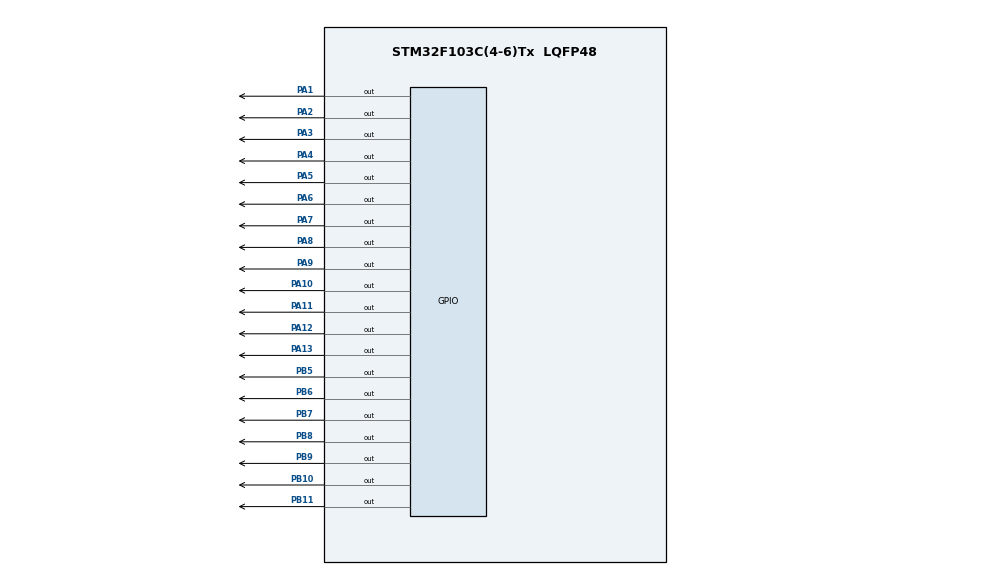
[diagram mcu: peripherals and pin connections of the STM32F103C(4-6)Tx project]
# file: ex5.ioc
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Mcu.Family=STM32F1
Mcu.Name=STM32F103C(4-6)Tx
Mcu.Package=LQFP48
NVIC.PriorityGroup=NVIC_PRIORITYGROUP_4
PA1.Signal=GPIO_Output
PA10.Signal=GPIO_Output
PA11.Signal=GPIO_Output
PA12.Signal=GPIO_Output
PA13.Signal=GPIO_Output
PA2.Signal=GPIO_Output
PA3.Signal=GPIO_Output
PA4.Signal=GPIO_Output
PA5.Signal=GPIO_Output
PA6.Signal=GPIO_Output
PA7.Signal=GPIO_Output
PA8.Signal=GPIO_Output
PA9.Signal=GPIO_Output
PB10.Signal=GPIO_Output
PB11.Signal=GPIO_Output
PB5.Signal=GPIO_Output
PB6.Signal=GPIO_Output
PB7.Signal=GPIO_Output
PB8.Signal=GPIO_Output
PB9.Signal=GPIO_Output
ProjectManager.HeapSize=0x200
ProjectManager.StackSize=0x400
ProjectManager.TargetToolchain=STM32CubeIDE
RCC.APB1Freq_Value=8000000
RCC.APB2Freq_Value=8000000
VP_SYS_VS_ND.Mode=No_Debug
board=custom

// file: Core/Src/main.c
/* USER CODE BEGIN Header */
/**
  ******************************************************************************
  * @file           : main.c
  * @brief          : Main program body
  ******************************************************************************
  * @attention
  *
  * <h2><center>&copy; Copyright (c) 2021 STMicroelectronics.
  * All rights reserved.</center></h2>
  *
  * This software component is licensed by ST under BSD 3-Clause license,
  * the "License"; You may not use this file except in compliance with the
  * License. You may obtain a copy of the License at:
  *                        opensource.org/licenses/BSD-3-Clause
  *
  ******************************************************************************
  */
/* USER CODE END Header */
#include "main.h"

void SystemClock_Config(void);
static void MX_GPIO_Init(void);

int main(void)
{

  /* MCU Configuration--------------------------------------------------------*/

  /* Reset of all peripherals, Initializes the Flash interface and the Systick. */
  HAL_Init();

  /* Configure the system clock */
  SystemClock_Config();

  /* Initialize all configured peripherals */
  MX_GPIO_Init();

  /* Infinite loop */
  /* USER CODE BEGIN WHILE */
  // Display led 7 segment top and bottom
    void display7SEG(int counter){
     	  switch(counter){
     	  case 0:
     		  HAL_GPIO_WritePin(GPIOA, GPIO_PIN_13, 1);
     		  HAL_GPIO_WritePin(GPIOA, GPIO_PIN_7|GPIO_PIN_8|GPIO_PIN_9|GPIO_PIN_10|GPIO_PIN_11|GPIO_PIN_12, 0);
     		  break;
     	  case 1:
     	  	HAL_GPIO_WritePin(GPIOA, GPIO_PIN_7|GPIO_PIN_10|GPIO_PIN_11|GPIO_PIN_12|GPIO_PIN_13, 1);
     	  	HAL_GPIO_WritePin(GPIOA, GPIO_PIN_8|GPIO_PIN_9, 0);
     	  	break;
     	  case 2:
     	  	HAL_GPIO_WritePin(GPIOA, GPIO_PIN_9|GPIO_PIN_12, 1);
     	  	HAL_GPIO_WritePin(GPIOA, GPIO_PIN_7|GPIO_PIN_8|GPIO_PIN_10|GPIO_PIN_11|GPIO_PIN_13, 0);
     	  	break;
     	  case 3:
     	  	HAL_GPIO_WritePin(GPIOA, GPIO_PIN_11|GPIO_PIN_12, 1);
     	  	HAL_GPIO_WritePin(GPIOA, GPIO_PIN_7|GPIO_PIN_8|GPIO_PIN_9|GPIO_PIN_10|GPIO_PIN_13, 0);
     	  	break;
     	  case 4:
     	  	HAL_GPIO_WritePin(GPIOA, GPIO_PIN_7|GPIO_PIN_10|GPIO_PIN_11, 1);
     	  	HAL_GPIO_WritePin(GPIOA, GPIO_PIN_8|GPIO_PIN_9|GPIO_PIN_12|GPIO_PIN_13, 0);
     	  	break;
     	  case 5:
     	  	HAL_GPIO_WritePin(GPIOA, GPIO_PIN_8|GPIO_PIN_11, 1);
     	  	HAL_GPIO_WritePin(GPIOA, GPIO_PIN_7|GPIO_PIN_9|GPIO_PIN_10|GPIO_PIN_12|GPIO_PIN_13, 0);
     	  	break;
     	  case 6:
     	  	HAL_GPIO_WritePin(GPIOA, GPIO_PIN_8, 1);
     	  	HAL_GPIO_WritePin(GPIOA, GPIO_PIN_7|GPIO_PIN_9|GPIO_PIN_10|GPIO_PIN_11|GPIO_PIN_12|GPIO_PIN_13, 0);
     	  	break;
     	  case 7:
     	  	HAL_GPIO_WritePin(GPIOA, GPIO_PIN_10|GPIO_PIN_11|GPIO_PIN_12|GPIO_PIN_13, 1);
     	  	HAL_GPIO_WritePin(GPIOA, GPIO_PIN_7|GPIO_PIN_8|GPIO_PIN_9, 0);
     	  	break;
     	  case 8:
     	  	HAL_GPIO_WritePin(GPIOA, GPIO_PIN_7|GPIO_PIN_8|GPIO_PIN_9|GPIO_PIN_10|GPIO_PIN_11|GPIO_PIN_12|GPIO_PIN_13, 0);
     	  	break;
     	  case 9:
     	  	HAL_GPIO_WritePin(GPIOA, GPIO_PIN_11, 1);
     	  	HAL_GPIO_WritePin(GPIOA, GPIO_PIN_7|GPIO_PIN_8|GPIO_PIN_9|GPIO_PIN_10|GPIO_PIN_12|GPIO_PIN_13, 0);
     	  	break;
     	  }
       }

    // Display led 7 segment right and left
     void display7SEG_1(int counter){
     	  switch(counter){
     	  case 0:
     		  HAL_GPIO_WritePin(GPIOB, GPIO_PIN_11, 1);
     		  HAL_GPIO_WritePin(GPIOB, GPIO_PIN_5|GPIO_PIN_6|GPIO_PIN_7|GPIO_PIN_8|GPIO_PIN_9|GPIO_PIN_10, 0);
     		  break;
     	  case 1:
     	  	HAL_GPIO_WritePin(GPIOB, GPIO_PIN_5|GPIO_PIN_8|GPIO_PIN_9|GPIO_PIN_10|GPIO_PIN_11, 1);
     	  	HAL_GPIO_WritePin(GPIOB, GPIO_PIN_6|GPIO_PIN_7, 0);
     	  	break;
     	  case 2:
     	  	HAL_GPIO_WritePin(GPIOB, GPIO_PIN_7|GPIO_PIN_10, 1);
     	  	HAL_GPIO_WritePin(GPIOB, GPIO_PIN_5|GPIO_PIN_6|GPIO_PIN_8|GPIO_PIN_9|GPIO_PIN_11, 0);
     	  	break;
     	  case 3:
     	  	HAL_GPIO_WritePin(GPIOB, GPIO_PIN_9|GPIO_PIN_10, 1);
     	  	HAL_GPIO_WritePin(GPIOB, GPIO_PIN_5|GPIO_PIN_6|GPIO_PIN_7|GPIO_PIN_8|GPIO_PIN_11, 0);
     	  	break;
     	  case 4:
     	  	HAL_GPIO_WritePin(GPIOB, GPIO_PIN_5|GPIO_PIN_8|GPIO_PIN_9, 1);
     	  	HAL_GPIO_WritePin(GPIOB, GPIO_PIN_6|GPIO_PIN_7|GPIO_PIN_10|GPIO_PIN_11, 0);
     	  	break;
     	  case 5:
     	  	HAL_GPIO_WritePin(GPIOB, GPIO_PIN_6|GPIO_PIN_9, 1);
     	  	HAL_GPIO_WritePin(GPIOB, GPIO_PIN_5|GPIO_PIN_7|GPIO_PIN_8|GPIO_PIN_10|GPIO_PIN_11, 0);
     	  	break;
     	  case 6:
     	  	HAL_GPIO_WritePin(GPIOB, GPIO_PIN_6, 1);
     	  	HAL_GPIO_WritePin(GPIOB, GPIO_PIN_5|GPIO_PIN_7|GPIO_PIN_8|GPIO_PIN_9|GPIO_PIN_10|GPIO_PIN_11, 0);
     	  	break;
     	  case 7:
     	  	HAL_GPIO_WritePin(GPIOB, GPIO_PIN_8|GPIO_PIN_9|GPIO_PIN_10|GPIO_PIN_11, 1);
     	  	HAL_GPIO_WritePin(GPIOB, GPIO_PIN_5|GPIO_PIN_6|GPIO_PIN_7, 0);
     	  	break;
     	  case 8:
     	  	HAL_GPIO_WritePin(GPIOB, GPIO_PIN_5|GPIO_PIN_6|GPIO_PIN_7|GPIO_PIN_8|GPIO_PIN_9|GPIO_PIN_10|GPIO_PIN_11, 0);
     	  	break;
     	  case 9:
     	  	HAL_GPIO_WritePin(GPIOB, GPIO_PIN_9, 1);
     	  	HAL_GPIO_WritePin(GPIOB, GPIO_PIN_5|GPIO_PIN_6|GPIO_PIN_7|GPIO_PIN_8|GPIO_PIN_10|GPIO_PIN_11, 0);
     	  	break;
     	  }
       }

     int counter_g = 3;
     int counter_r = 5;
     int counter_y = 2;
     int counter_g1= 3;
     int counter_r1= 5;
     int counter_y1= 2;
     while (1)
     {
      /* USER CODE END WHILE */

  	   HAL_GPIO_TogglePin(GPIOA, GPIO_PIN_1|GPIO_PIN_2);
  	   HAL_GPIO_TogglePin(GPIOA, GPIO_PIN_5|GPIO_PIN_6);
  	   while(counter_g > 0){
  	   	   display7SEG_1(counter_r1) ;
  	   	   counter_r1 --;
  	   	   display7SEG(counter_g);
  	   	   counter_g --;
  	   	   HAL_Delay (1000) ;
  	   }
  	   HAL_GPIO_TogglePin(GPIOA, GPIO_PIN_3|GPIO_PIN_2);
  	   while(counter_y > 0){
  	   	   display7SEG_1(counter_r1) ;
  	   	   counter_r1 --;
  	   	   display7SEG(counter_y);
  	   	   counter_y --;
  	   	   HAL_Delay (1000) ;
  	   }

  	   HAL_GPIO_TogglePin(GPIOA, GPIO_PIN_1|GPIO_PIN_2);
  	   HAL_GPIO_TogglePin(GPIOA, GPIO_PIN_4|GPIO_PIN_6);
  	   while(counter_g1 > 0){
  	   	   display7SEG_1(counter_g1) ;
  	   	   counter_g1 --;
  	   	   display7SEG(counter_r);
  	   	   counter_r --;
  	   	   HAL_Delay (1000) ;
  	   }
  	   HAL_GPIO_TogglePin(GPIOA, GPIO_PIN_5|GPIO_PIN_6);
  	   while(counter_y1 > 0){
  	   	   display7SEG_1(counter_y1) ;
  	   	   counter_y1 --;
  	   	   display7SEG(counter_r);
  	   	   counter_r --;
  	       HAL_Delay (1000) ;
  	  }

  	   HAL_GPIO_TogglePin(GPIOA, GPIO_PIN_4|GPIO_PIN_6);
  	   HAL_GPIO_TogglePin(GPIOA, GPIO_PIN_3|GPIO_PIN_2);
  	   counter_g = 3;
  	   counter_r = 5;
  	   counter_y = 2;
  	   counter_g1= 3;
  	   counter_r1= 5;
  	   counter_y1= 2;
     }
}

void SystemClock_Config(void)
{
  RCC_OscInitTypeDef RCC_OscInitStruct = {0};
  RCC_ClkInitTypeDef RCC_ClkInitStruct = {0};

  /** Initializes the RCC Oscillators according to the specified parameters
  * in the RCC_OscInitTypeDef structure.
  */
  RCC_OscInitStruct.OscillatorType = RCC_OSCILLATORTYPE_HSI;
  RCC_OscInitStruct.HSIState = RCC_HSI_ON;
  RCC_OscInitStruct.HSICalibrationValue = RCC_HSICALIBRATION_DEFAULT;
  RCC_OscInitStruct.PLL.PLLState = RCC_PLL_NONE;
  if (HAL_RCC_OscConfig(&RCC_OscInitStruct) != HAL_OK)
  {
    Error_Handler();
  }
  /** Initializes the CPU, AHB and APB buses clocks
  */
  RCC_ClkInitStruct.ClockType = RCC_CLOCKTYPE_HCLK|RCC_CLOCKTYPE_SYSCLK
                              |RCC_CLOCKTYPE_PCLK1|RCC_CLOCKTYPE_PCLK2;
  RCC_ClkInitStruct.SYSCLKSource = RCC_SYSCLKSOURCE_HSI;
  RCC_ClkInitStruct.AHBCLKDivider = RCC_SYSCLK_DIV1;
  RCC_ClkInitStruct.APB1CLKDivider = RCC_HCLK_DIV1;
  RCC_ClkInitStruct.APB2CLKDivider = RCC_HCLK_DIV1;

  if (HAL_RCC_ClockConfig(&RCC_ClkInitStruct, FLASH_LATENCY_0) != HAL_OK)
  {
    Error_Handler();
  }
}

static void MX_GPIO_Init(void)
{
  GPIO_InitTypeDef GPIO_InitStruct = {0};

  /* GPIO Ports Clock Enable */
  __HAL_RCC_GPIOA_CLK_ENABLE();
  __HAL_RCC_GPIOB_CLK_ENABLE();

  /*Configure GPIO pin Output Level */
  HAL_GPIO_WritePin(GPIOA, GPIO_PIN_1|GPIO_PIN_2|GPIO_PIN_3|GPIO_PIN_4
                          |GPIO_PIN_5|GPIO_PIN_6|GPIO_PIN_7|GPIO_PIN_8
                          |GPIO_PIN_9|GPIO_PIN_10|GPIO_PIN_11|GPIO_PIN_12
                          |GPIO_PIN_13, GPIO_PIN_RESET);

  /*Configure GPIO pin Output Level */
  HAL_GPIO_WritePin(GPIOB, GPIO_PIN_10|GPIO_PIN_11|GPIO_PIN_5|GPIO_PIN_6
                          |GPIO_PIN_7|GPIO_PIN_8|GPIO_PIN_9, GPIO_PIN_RESET);

  /*Configure GPIO pins : PA1 PA2 PA3 PA4
                           PA5 PA6 PA7 PA8
                           PA9 PA10 PA11 PA12
                           PA13 */
  GPIO_InitStruct.Pin = GPIO_PIN_1|GPIO_PIN_2|GPIO_PIN_3|GPIO_PIN_4
                          |GPIO_PIN_5|GPIO_PIN_6|GPIO_PIN_7|GPIO_PIN_8
                          |GPIO_PIN_9|GPIO_PIN_10|GPIO_PIN_11|GPIO_PIN_12
                          |GPIO_PIN_13;
  GPIO_InitStruct.Mode = GPIO_MODE_OUTPUT_PP;
  GPIO_InitStruct.Pull = GPIO_NOPULL;
  GPIO_InitStruct.Speed = GPIO_SPEED_FREQ_LOW;
  HAL_GPIO_Init(GPIOA, &GPIO_InitStruct);

  /*Configure GPIO pins : PB10 PB11 PB5 PB6
                           PB7 PB8 PB9 */
  GPIO_InitStruct.Pin = GPIO_PIN_10|GPIO_PIN_11|GPIO_PIN_5|GPIO_PIN_6
                          |GPIO_PIN_7|GPIO_PIN_8|GPIO_PIN_9;
  GPIO_InitStruct.Mode = GPIO_MODE_OUTPUT_PP;
  GPIO_InitStruct.Pull = GPIO_NOPULL;
  GPIO_InitStruct.Speed = GPIO_SPEED_FREQ_LOW;
  HAL_GPIO_Init(GPIOB, &GPIO_InitStruct);

}

void Error_Handler(void)
{
  __disable_irq();
  while (1)
  {
  }
}

/************************ (C) COPYRIGHT STMicroelectronics *****END OF FILE****/
